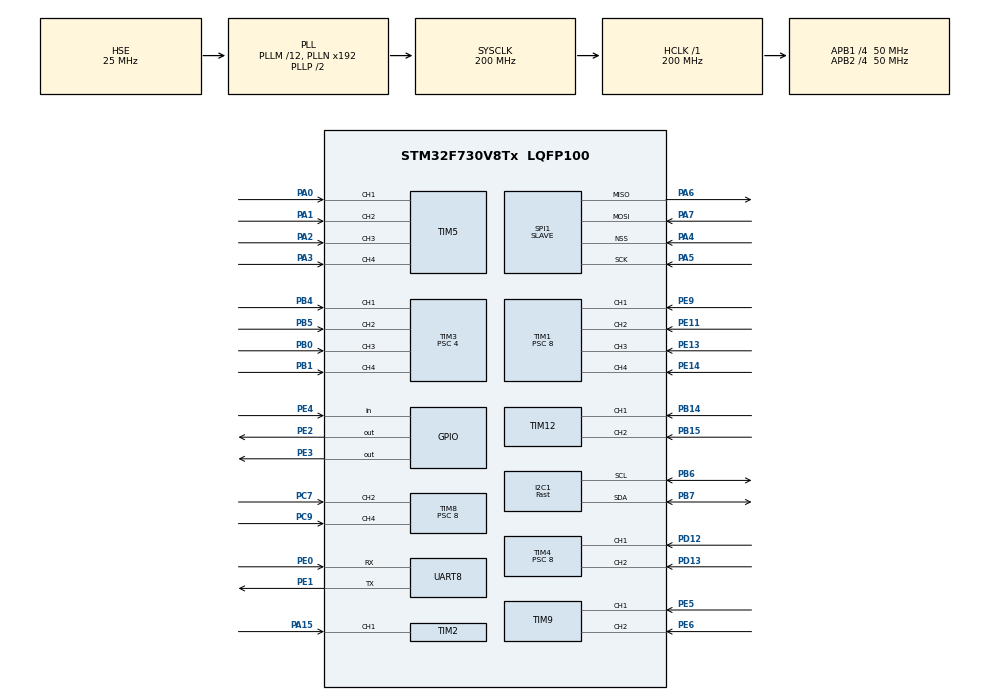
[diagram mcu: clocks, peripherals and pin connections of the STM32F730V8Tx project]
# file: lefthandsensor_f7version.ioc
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CORTEX_M7.default_mode_Activation=1
Dma.Request0=TIM2_CH1
Dma.Request1=TIM1_CH1
Dma.Request10=TIM4_CH1
Dma.Request11=TIM4_CH2
Dma.Request12=TIM8_CH4/TRIG/COM
Dma.Request2=TIM3_CH3
Dma.Request3=TIM3_CH4/UP
Dma.Request4=TIM1_CH2
Dma.Request5=TIM1_CH3
Dma.Request6=TIM1_CH4/TRIG/COM
Dma.Request7=TIM8_CH2
Dma.Request8=SPI1_RX
Dma.Request9=SPI1_TX
Dma.SPI1_RX.8.Direction=DMA_PERIPH_TO_MEMORY
Dma.SPI1_RX.8.FIFOMode=DMA_FIFOMODE_ENABLE
Dma.SPI1_RX.8.FIFOThreshold=DMA_FIFO_THRESHOLD_FULL
Dma.SPI1_RX.8.Instance=DMA2_Stream0
Dma.SPI1_RX.8.MemBurst=DMA_MBURST_SINGLE
Dma.SPI1_RX.8.MemDataAlignment=DMA_MDATAALIGN_BYTE
Dma.SPI1_RX.8.MemInc=DMA_MINC_ENABLE
Dma.SPI1_RX.8.Mode=DMA_CIRCULAR
Dma.SPI1_RX.8.PeriphBurst=DMA_PBURST_SINGLE
Dma.SPI1_RX.8.PeriphDataAlignment=DMA_PDATAALIGN_BYTE
Dma.SPI1_RX.8.PeriphInc=DMA_PINC_DISABLE
Dma.SPI1_RX.8.Priority=DMA_PRIORITY_LOW
Dma.SPI1_TX.9.Direction=DMA_MEMORY_TO_PERIPH
Dma.SPI1_TX.9.FIFOMode=DMA_FIFOMODE_ENABLE
Dma.SPI1_TX.9.FIFOThreshold=DMA_FIFO_THRESHOLD_FULL
Dma.SPI1_TX.9.Instance=DMA2_Stream5
Dma.SPI1_TX.9.MemBurst=DMA_MBURST_SINGLE
Dma.SPI1_TX.9.MemDataAlignment=DMA_MDATAALIGN_BYTE
Dma.SPI1_TX.9.MemInc=DMA_MINC_ENABLE
Dma.SPI1_TX.9.Mode=DMA_CIRCULAR
Dma.SPI1_TX.9.PeriphBurst=DMA_PBURST_SINGLE
Dma.SPI1_TX.9.PeriphDataAlignment=DMA_PDATAALIGN_BYTE
Dma.SPI1_TX.9.PeriphInc=DMA_PINC_DISABLE
Dma.SPI1_TX.9.Priority=DMA_PRIORITY_LOW
Dma.TIM1_CH1.1.Direction=DMA_PERIPH_TO_MEMORY
Dma.TIM1_CH1.1.FIFOMode=DMA_FIFOMODE_ENABLE
Dma.TIM1_CH1.1.FIFOThreshold=DMA_FIFO_THRESHOLD_FULL
Dma.TIM1_CH1.1.Instance=DMA2_Stream1
Dma.TIM1_CH1.1.MemBurst=DMA_MBURST_SINGLE
Dma.TIM1_CH1.1.MemDataAlignment=DMA_MDATAALIGN_HALFWORD
Dma.TIM1_CH1.1.MemInc=DMA_MINC_ENABLE
Dma.TIM1_CH1.1.Mode=DMA_CIRCULAR
Dma.TIM1_CH1.1.PeriphBurst=DMA_PBURST_SINGLE
Dma.TIM1_CH1.1.PeriphDataAlignment=DMA_PDATAALIGN_HALFWORD
Dma.TIM1_CH1.1.PeriphInc=DMA_PINC_DISABLE
Dma.TIM1_CH1.1.Priority=DMA_PRIORITY_LOW
Dma.TIM1_CH2.4.Direction=DMA_PERIPH_TO_MEMORY
Dma.TIM1_CH2.4.FIFOMode=DMA_FIFOMODE_ENABLE
Dma.TIM1_CH2.4.FIFOThreshold=DMA_FIFO_THRESHOLD_FULL
Dma.TIM1_CH2.4.Instance=DMA2_Stream2
Dma.TIM1_CH2.4.MemBurst=DMA_MBURST_SINGLE
Dma.TIM1_CH2.4.MemDataAlignment=DMA_MDATAALIGN_HALFWORD
Dma.TIM1_CH2.4.MemInc=DMA_MINC_ENABLE
Dma.TIM1_CH2.4.Mode=DMA_CIRCULAR
Dma.TIM1_CH2.4.PeriphBurst=DMA_PBURST_SINGLE
Dma.TIM1_CH2.4.PeriphDataAlignment=DMA_PDATAALIGN_HALFWORD
Dma.TIM1_CH2.4.PeriphInc=DMA_PINC_DISABLE
Dma.TIM1_CH2.4.Priority=DMA_PRIORITY_LOW
Dma.TIM1_CH3.5.Direction=DMA_PERIPH_TO_MEMORY
Dma.TIM1_CH3.5.FIFOMode=DMA_FIFOMODE_ENABLE
Dma.TIM1_CH3.5.FIFOThreshold=DMA_FIFO_THRESHOLD_FULL
Dma.TIM1_CH3.5.Instance=DMA2_Stream6
Dma.TIM1_CH3.5.MemBurst=DMA_MBURST_SINGLE
Dma.TIM1_CH3.5.MemDataAlignment=DMA_MDATAALIGN_HALFWORD
Dma.TIM1_CH3.5.MemInc=DMA_MINC_ENABLE
Dma.TIM1_CH3.5.Mode=DMA_CIRCULAR
Dma.TIM1_CH3.5.PeriphBurst=DMA_PBURST_SINGLE
Dma.TIM1_CH3.5.PeriphDataAlignment=DMA_PDATAALIGN_HALFWORD
Dma.TIM1_CH3.5.PeriphInc=DMA_PINC_DISABLE
Dma.TIM1_CH3.5.Priority=DMA_PRIORITY_LOW
Dma.TIM1_CH4/TRIG/COM.6.Direction=DMA_PERIPH_TO_MEMORY
Dma.TIM1_CH4/TRIG/COM.6.FIFOMode=DMA_FIFOMODE_ENABLE
Dma.TIM1_CH4/TRIG/COM.6.FIFOThreshold=DMA_FIFO_THRESHOLD_FULL
Dma.TIM1_CH4/TRIG/COM.6.Instance=DMA2_Stream4
Dma.TIM1_CH4/TRIG/COM.6.MemBurst=DMA_MBURST_SINGLE
Dma.TIM1_CH4/TRIG/COM.6.MemDataAlignment=DMA_MDATAALIGN_HALFWORD
Dma.TIM1_CH4/TRIG/COM.6.MemInc=DMA_MINC_ENABLE
Dma.TIM1_CH4/TRIG/COM.6.Mode=DMA_CIRCULAR
Dma.TIM1_CH4/TRIG/COM.6.PeriphBurst=DMA_PBURST_SINGLE
Dma.TIM1_CH4/TRIG/COM.6.PeriphDataAlignment=DMA_PDATAALIGN_HALFWORD
Dma.TIM1_CH4/TRIG/COM.6.PeriphInc=DMA_PINC_DISABLE
Dma.TIM1_CH4/TRIG/COM.6.Priority=DMA_PRIORITY_LOW
Dma.TIM2_CH1.0.Direction=DMA_PERIPH_TO_MEMORY
Dma.TIM2_CH1.0.FIFOMode=DMA_FIFOMODE_ENABLE
Dma.TIM2_CH1.0.FIFOThreshold=DMA_FIFO_THRESHOLD_FULL
Dma.TIM2_CH1.0.Instance=DMA1_Stream5
Dma.TIM2_CH1.0.MemBurst=DMA_MBURST_SINGLE
Dma.TIM2_CH1.0.MemDataAlignment=DMA_MDATAALIGN_HALFWORD
Dma.TIM2_CH1.0.MemInc=DMA_MINC_ENABLE
Dma.TIM2_CH1.0.Mode=DMA_CIRCULAR
Dma.TIM2_CH1.0.PeriphBurst=DMA_PBURST_SINGLE
Dma.TIM2_CH1.0.PeriphDataAlignment=DMA_PDATAALIGN_WORD
Dma.TIM2_CH1.0.PeriphInc=DMA_PINC_DISABLE
Dma.TIM2_CH1.0.Priority=DMA_PRIORITY_LOW
Dma.TIM3_CH3.2.Direction=DMA_PERIPH_TO_MEMORY
Dma.TIM3_CH3.2.FIFOMode=DMA_FIFOMODE_DISABLE
Dma.TIM3_CH3.2.Instance=DMA1_Stream7
Dma.TIM3_CH3.2.MemDataAlignment=DMA_MDATAALIGN_HALFWORD
Dma.TIM3_CH3.2.MemInc=DMA_MINC_ENABLE
Dma.TIM3_CH3.2.Mode=DMA_NORMAL
Dma.TIM3_CH3.2.PeriphDataAlignment=DMA_PDATAALIGN_HALFWORD
Dma.TIM3_CH3.2.PeriphInc=DMA_PINC_DISABLE
Dma.TIM3_CH3.2.Priority=DMA_PRIORITY_LOW
Dma.TIM3_CH4/UP.3.Direction=DMA_PERIPH_TO_MEMORY
Dma.TIM3_CH4/UP.3.FIFOMode=DMA_FIFOMODE_DISABLE
Dma.TIM3_CH4/UP.3.Instance=DMA1_Stream2
Dma.TIM3_CH4/UP.3.MemDataAlignment=DMA_MDATAALIGN_HALFWORD
Dma.TIM3_CH4/UP.3.MemInc=DMA_MINC_ENABLE
Dma.TIM3_CH4/UP.3.Mode=DMA_NORMAL
Dma.TIM3_CH4/UP.3.PeriphDataAlignment=DMA_PDATAALIGN_HALFWORD
Dma.TIM3_CH4/UP.3.PeriphInc=DMA_PINC_DISABLE
Dma.TIM3_CH4/UP.3.Priority=DMA_PRIORITY_LOW
Dma.TIM4_CH1.10.Direction=DMA_PERIPH_TO_MEMORY
Dma.TIM4_CH1.10.FIFOMode=DMA_FIFOMODE_ENABLE
Dma.TIM4_CH1.10.FIFOThreshold=DMA_FIFO_THRESHOLD_FULL
Dma.TIM4_CH1.10.Instance=DMA1_Stream0
Dma.TIM4_CH1.10.MemBurst=DMA_MBURST_SINGLE
Dma.TIM4_CH1.10.MemDataAlignment=DMA_MDATAALIGN_HALFWORD
Dma.TIM4_CH1.10.MemInc=DMA_MINC_ENABLE
Dma.TIM4_CH1.10.Mode=DMA_CIRCULAR
Dma.TIM4_CH1.10.PeriphBurst=DMA_PBURST_SINGLE
Dma.TIM4_CH1.10.PeriphDataAlignment=DMA_PDATAALIGN_HALFWORD
Dma.TIM4_CH1.10.PeriphInc=DMA_PINC_DISABLE
Dma.TIM4_CH1.10.Priority=DMA_PRIORITY_LOW
Dma.TIM4_CH2.11.Direction=DMA_PERIPH_TO_MEMORY
Dma.TIM4_CH2.11.FIFOMode=DMA_FIFOMODE_ENABLE
Dma.TIM4_CH2.11.FIFOThreshold=DMA_FIFO_THRESHOLD_FULL
Dma.TIM4_CH2.11.Instance=DMA1_Stream3
Dma.TIM4_CH2.11.MemBurst=DMA_MBURST_SINGLE
Dma.TIM4_CH2.11.MemDataAlignment=DMA_MDATAALIGN_HALFWORD
Dma.TIM4_CH2.11.MemInc=DMA_MINC_ENABLE
Dma.TIM4_CH2.11.Mode=DMA_CIRCULAR
Dma.TIM4_CH2.11.PeriphBurst=DMA_PBURST_SINGLE
Dma.TIM4_CH2.11.PeriphDataAlignment=DMA_PDATAALIGN_HALFWORD
Dma.TIM4_CH2.11.PeriphInc=DMA_PINC_DISABLE
Dma.TIM4_CH2.11.Priority=DMA_PRIORITY_LOW
Dma.TIM8_CH2.7.Direction=DMA_PERIPH_TO_MEMORY
Dma.TIM8_CH2.7.FIFOMode=DMA_FIFOMODE_ENABLE
Dma.TIM8_CH2.7.FIFOThreshold=DMA_FIFO_THRESHOLD_FULL
Dma.TIM8_CH2.7.Instance=DMA2_Stream3
Dma.TIM8_CH2.7.MemBurst=DMA_MBURST_SINGLE
Dma.TIM8_CH2.7.MemDataAlignment=DMA_MDATAALIGN_HALFWORD
Dma.TIM8_CH2.7.MemInc=DMA_MINC_ENABLE
Dma.TIM8_CH2.7.Mode=DMA_CIRCULAR
Dma.TIM8_CH2.7.PeriphBurst=DMA_PBURST_SINGLE
Dma.TIM8_CH2.7.PeriphDataAlignment=DMA_PDATAALIGN_HALFWORD
Dma.TIM8_CH2.7.PeriphInc=DMA_PINC_DISABLE
Dma.TIM8_CH2.7.Priority=DMA_PRIORITY_LOW
Dma.TIM8_CH4/TRIG/COM.12.Direction=DMA_PERIPH_TO_MEMORY
Dma.TIM8_CH4/TRIG/COM.12.FIFOMode=DMA_FIFOMODE_ENABLE
Dma.TIM8_CH4/TRIG/COM.12.FIFOThreshold=DMA_FIFO_THRESHOLD_FULL
Dma.TIM8_CH4/TRIG/COM.12.Instance=DMA2_Stream7
Dma.TIM8_CH4/TRIG/COM.12.MemBurst=DMA_MBURST_SINGLE
Dma.TIM8_CH4/TRIG/COM.12.MemDataAlignment=DMA_MDATAALIGN_HALFWORD
Dma.TIM8_CH4/TRIG/COM.12.MemInc=DMA_MINC_ENABLE
Dma.TIM8_CH4/TRIG/COM.12.Mode=DMA_CIRCULAR
Dma.TIM8_CH4/TRIG/COM.12.PeriphBurst=DMA_PBURST_SINGLE
Dma.TIM8_CH4/TRIG/COM.12.PeriphDataAlignment=DMA_PDATAALIGN_HALFWORD
Dma.TIM8_CH4/TRIG/COM.12.PeriphInc=DMA_PINC_DISABLE
Dma.TIM8_CH4/TRIG/COM.12.Priority=DMA_PRIORITY_LOW
I2C1.I2C_Speed_Mode=I2C_Fast
I2C1.Timing=0x00401959
Mcu.Family=STM32F7
Mcu.Name=STM32F730V8Tx
Mcu.Package=LQFP100
NVIC.DMA1_Stream0_IRQn=true\:0\:0\:false\:false\:true\:false\:true\:true
NVIC.DMA1_Stream2_IRQn=true\:0\:0\:false\:false\:true\:false\:true\:true
NVIC.DMA1_Stream3_IRQn=true\:0\:0\:false\:false\:true\:false\:true\:true
NVIC.DMA1_Stream5_IRQn=true\:0\:0\:false\:false\:true\:false\:true\:true
NVIC.DMA1_Stream7_IRQn=true\:0\:0\:false\:false\:true\:false\:true\:true
NVIC.DMA2_Stream0_IRQn=true\:0\:0\:false\:false\:true\:false\:true\:true
NVIC.DMA2_Stream1_IRQn=true\:0\:0\:false\:false\:true\:false\:true\:true
NVIC.DMA2_Stream2_IRQn=true\:0\:0\:false\:false\:true\:false\:true\:true
NVIC.DMA2_Stream3_IRQn=true\:0\:0\:false\:false\:true\:false\:true\:true
NVIC.DMA2_Stream4_IRQn=true\:0\:0\:false\:false\:true\:false\:true\:true
NVIC.DMA2_Stream5_IRQn=true\:0\:0\:false\:false\:true\:false\:true\:true
NVIC.DMA2_Stream6_IRQn=true\:0\:0\:false\:false\:true\:false\:true\:true
NVIC.DMA2_Stream7_IRQn=true\:0\:0\:false\:false\:true\:false\:true\:true
NVIC.PriorityGroup=NVIC_PRIORITYGROUP_4
NVIC.SPI1_IRQn=true\:0\:0\:false\:false\:true\:true\:true\:true
NVIC.TIM1_BRK_TIM9_IRQn=true\:0\:0\:false\:false\:true\:true\:true\:true
NVIC.TIM2_IRQn=true\:0\:0\:false\:false\:true\:true\:true\:true
NVIC.TIM3_IRQn=true\:0\:0\:false\:false\:true\:true\:true\:true
NVIC.TIM4_IRQn=true\:0\:0\:false\:false\:true\:true\:true\:true
NVIC.TIM5_IRQn=true\:0\:0\:false\:false\:true\:true\:true\:true
NVIC.TIM8_BRK_TIM12_IRQn=true\:0\:0\:false\:false\:true\:true\:true\:true
NVIC.TIM8_CC_IRQn=true\:0\:0\:false\:false\:true\:true\:true\:true
NVIC.TIM8_TRG_COM_TIM14_IRQn=true\:0\:0\:false\:false\:true\:true\:true\:true
NVIC.TIM8_UP_TIM13_IRQn=true\:0\:0\:false\:false\:true\:true\:true\:true
PA0-WKUP.Signal=S_TIM5_CH1
PA1.Signal=S_TIM5_CH2
PA13.Mode=Trace_Asynchronous_SW
PA13.Signal=SYS_JTMS-SWDIO
PA14.Mode=Trace_Asynchronous_SW
PA14.Signal=SYS_JTCK-SWCLK
PA15.Signal=S_TIM2_CH1_ETR
PA2.Signal=S_TIM5_CH3
PA3.Signal=S_TIM5_CH4
PA4.GPIO_Speed=GPIO_SPEED_FREQ_MEDIUM
PA4.Mode=NSS_Signal_Hard_Input
PA4.Signal=SPI1_NSS
PA5.GPIO_Speed=GPIO_SPEED_FREQ_MEDIUM
PA5.Mode=Full_Duplex_Slave
PA5.Signal=SPI1_SCK
PA6.GPIO_Speed=GPIO_SPEED_FREQ_MEDIUM
PA6.Mode=Full_Duplex_Slave
PA6.Signal=SPI1_MISO
PA7.GPIO_Speed=GPIO_SPEED_FREQ_MEDIUM
PA7.Mode=Full_Duplex_Slave
PA7.Signal=SPI1_MOSI
PB0.Signal=S_TIM3_CH3
PB1.Signal=S_TIM3_CH4
PB14.Signal=S_TIM12_CH1
PB15.Signal=S_TIM12_CH2
PB3.Mode=Trace_Asynchronous_SW
PB3.Signal=SYS_JTDO-SWO
PB4.Signal=S_TIM3_CH1
PB5.Signal=S_TIM3_CH2
PB6.Mode=I2C
PB6.Signal=I2C1_SCL
PB7.Mode=I2C
PB7.Signal=I2C1_SDA
PC7.Signal=S_TIM8_CH2
PC9.Signal=S_TIM8_CH4
PD12.Signal=S_TIM4_CH1
PD13.Signal=S_TIM4_CH2
PE0.Mode=Asynchronous
PE0.Signal=UART8_RX
PE1.Mode=Asynchronous
PE1.Signal=UART8_TX
PE11.Signal=S_TIM1_CH2
PE13.Signal=S_TIM1_CH3
PE14.Signal=S_TIM1_CH4
PE2.Signal=GPIO_Output
PE3.Signal=GPIO_Output
PE4.Signal=GPIO_Input
PE5.Signal=S_TIM9_CH1
PE6.Signal=S_TIM9_CH2
PE9.Signal=S_TIM1_CH1
PH0-OSC_IN.Mode=HSE-External-Clock-Source
PH0-OSC_IN.Signal=RCC_OSC_IN
PH1-OSC_OUT.Mode=HSE-External-Clock-Source
PH1-OSC_OUT.Signal=RCC_OSC_OUT
ProjectManager.HeapSize=0x200
ProjectManager.StackSize=0x400
ProjectManager.TargetToolchain=STM32CubeIDE
RCC.AHBFreq_Value=200000000
RCC.APB1CLKDivider=RCC_HCLK_DIV4
RCC.APB1Freq_Value=50000000
RCC.APB1TimFreq_Value=100000000
RCC.APB2CLKDivider=RCC_HCLK_DIV4
RCC.APB2Freq_Value=50000000
RCC.APB2TimFreq_Value=100000000
RCC.CortexFreq_Value=200000000
RCC.HCLKFreq_Value=200000000
RCC.HSE_VALUE=25000000
RCC.HSI_VALUE=16000000
RCC.LSE_VALUE=32768
RCC.PLLM=12
RCC.PLLSourceVirtual=RCC_PLLSOURCE_HSE
RCC.SYSCLKFreq_VALUE=200000000
RCC.SYSCLKSource=RCC_SYSCLKSOURCE_PLLCLK
RCC.USBFreq_Value=200000000
RCC.VCOOutputFreq_Value=400000000
SH.S_TIM12_CH1.0=TIM12_CH1,Input_Capture1_from_TI1
SH.S_TIM12_CH2.0=TIM12_CH2,Input_Capture2_from_TI2
SH.S_TIM1_CH1.0=TIM1_CH1,Input_Capture1_from_TI1
SH.S_TIM1_CH2.0=TIM1_CH2,Input_Capture2_from_TI2
SH.S_TIM1_CH3.0=TIM1_CH3,Input_Capture3_from_TI3
SH.S_TIM1_CH4.0=TIM1_CH4,Input_Capture4_from_TI4
SH.S_TIM2_CH1_ETR.0=TIM2_CH1,Input_Capture1_from_TI1
SH.S_TIM3_CH1.0=TIM3_CH1,Input_Capture1_from_TI1
SH.S_TIM3_CH2.0=TIM3_CH2,Input_Capture2_from_TI2
SH.S_TIM3_CH3.0=TIM3_CH3,Input_Capture3_from_TI3
SH.S_TIM3_CH4.0=TIM3_CH4,Input_Capture4_from_TI4
SH.S_TIM4_CH1.0=TIM4_CH1,Input_Capture1_from_TI1
SH.S_TIM4_CH2.0=TIM4_CH2,Input_Capture2_from_TI2
SH.S_TIM5_CH1.0=TIM5_CH1,Input_Capture1_from_TI1
SH.S_TIM5_CH2.0=TIM5_CH2,Input_Capture2_from_TI2
SH.S_TIM5_CH3.0=TIM5_CH3,Input_Capture3_from_TI3
SH.S_TIM5_CH4.0=TIM5_CH4,Input_Capture4_from_TI4
SH.S_TIM8_CH2.0=TIM8_CH2,Input_Capture2_from_TI2
SH.S_TIM8_CH4.0=TIM8_CH4,Input_Capture4_from_TI4
SH.S_TIM9_CH1.0=TIM9_CH1,Input_Capture1_from_TI1
SH.S_TIM9_CH2.0=TIM9_CH2,Input_Capture2_from_TI2
SPI1.DataSize=SPI_DATASIZE_8BIT
SPI1.Direction=SPI_DIRECTION_2LINES
SPI1.Mode=SPI_MODE_SLAVE
SPI1.VirtualNSS=VM_NSSHARD
SPI1.VirtualType=VM_SLAVE
TIM1.AutoReloadPreload=TIM_AUTORELOAD_PRELOAD_DISABLE
TIM1.Channel-Input_Capture1_from_TI1=TIM_CHANNEL_1
TIM1.Channel-Input_Capture2_from_TI2=TIM_CHANNEL_2
TIM1.Channel-Input_Capture3_from_TI3=TIM_CHANNEL_3
TIM1.Channel-Input_Capture4_from_TI4=TIM_CHANNEL_4
TIM1.ICPolarity_CH1=TIM_INPUTCHANNELPOLARITY_FALLING
TIM1.ICPolarity_CH2=TIM_INPUTCHANNELPOLARITY_FALLING
TIM1.ICPolarity_CH3=TIM_INPUTCHANNELPOLARITY_FALLING
TIM1.ICPolarity_CH4=TIM_INPUTCHANNELPOLARITY_FALLING
TIM1.Prescaler=8
TIM12.Channel-Input_Capture1_from_TI1=TIM_CHANNEL_1
TIM12.Channel-Input_Capture2_from_TI2=TIM_CHANNEL_2
TIM2.AutoReloadPreload=TIM_AUTORELOAD_PRELOAD_ENABLE
TIM2.Channel-Input_Capture1_from_TI1=TIM_CHANNEL_1
TIM2.ICPolarity_CH1=TIM_INPUTCHANNELPOLARITY_FALLING
TIM2.ICPrescaler-Input_Capture1_from_TI1=TIM_ICPSC_DIV1
TIM2.Period=4294967295
TIM2.Prescaler=8
TIM2.TIM_MasterOutputTrigger=TIM_TRGO_RESET
TIM3.Channel-Input_Capture1_from_TI1=TIM_CHANNEL_1
TIM3.Channel-Input_Capture2_from_TI2=TIM_CHANNEL_2
TIM3.Channel-Input_Capture3_from_TI3=TIM_CHANNEL_3
TIM3.Channel-Input_Capture4_from_TI4=TIM_CHANNEL_4
TIM3.Prescaler=4
TIM4.Channel-Input_Capture1_from_TI1=TIM_CHANNEL_1
TIM4.Channel-Input_Capture2_from_TI2=TIM_CHANNEL_2
TIM4.ICPolarity_CH1=TIM_INPUTCHANNELPOLARITY_FALLING
TIM4.ICPolarity_CH2=TIM_INPUTCHANNELPOLARITY_FALLING
TIM4.Prescaler=8
TIM5.Channel-Input_Capture1_from_TI1=TIM_CHANNEL_1
TIM5.Channel-Input_Capture2_from_TI2=TIM_CHANNEL_2
TIM5.Channel-Input_Capture3_from_TI3=TIM_CHANNEL_3
TIM5.Channel-Input_Capture4_from_TI4=TIM_CHANNEL_4
TIM8.Channel-Input_Capture2_from_TI2=TIM_CHANNEL_2
TIM8.Channel-Input_Capture4_from_TI4=TIM_CHANNEL_4
TIM8.ICPolarity_CH2=TIM_INPUTCHANNELPOLARITY_FALLING
TIM8.ICPolarity_CH4=TIM_INPUTCHANNELPOLARITY_FALLING
TIM8.Prescaler=8
TIM9.Channel-Input_Capture1_from_TI1=TIM_CHANNEL_1
TIM9.Channel-Input_Capture2_from_TI2=TIM_CHANNEL_2
VP_TIM12_VS_ClockSourceINT.Mode=Internal
VP_TIM1_VS_ClockSourceINT.Mode=Internal
VP_TIM2_VS_ClockSourceINT.Mode=Internal
VP_TIM3_VS_ClockSourceINT.Mode=Internal
VP_TIM4_VS_ClockSourceINT.Mode=Internal
VP_TIM5_VS_ClockSourceINT.Mode=Internal
VP_TIM8_VS_ClockSourceINT.Mode=Internal
VP_TIM9_VS_ClockSourceINT.Mode=Internal
board=custom

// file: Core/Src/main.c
/* USER CODE BEGIN Header */
/**
  ******************************************************************************
  * @file           : main.c
  * @brief          : Main program body
  ******************************************************************************
  * @attention
  *
  * Copyright (c) 2026 STMicroelectronics.
  * All rights reserved.
  *
  * This software is licensed under terms that can be found in the LICENSE file
  * in the root directory of this software component.
  * If no LICENSE file comes with this software, it is provided AS-IS.
  *
  ******************************************************************************
  */
/* USER CODE END Header */
#include "main.h"

I2C_HandleTypeDef hi2c1;

SPI_HandleTypeDef hspi1;
DMA_HandleTypeDef hdma_spi1_rx;
DMA_HandleTypeDef hdma_spi1_tx;

TIM_HandleTypeDef htim1;
TIM_HandleTypeDef htim2;
TIM_HandleTypeDef htim3;
TIM_HandleTypeDef htim4;
TIM_HandleTypeDef htim5;
TIM_HandleTypeDef htim8;
TIM_HandleTypeDef htim9;
TIM_HandleTypeDef htim12;
DMA_HandleTypeDef hdma_tim1_ch1;
DMA_HandleTypeDef hdma_tim1_ch2;
DMA_HandleTypeDef hdma_tim1_ch3;
DMA_HandleTypeDef hdma_tim1_ch4_trig_com;
DMA_HandleTypeDef hdma_tim2_ch1;
DMA_HandleTypeDef hdma_tim3_ch3;
DMA_HandleTypeDef hdma_tim3_ch4_up;
DMA_HandleTypeDef hdma_tim4_ch1;
DMA_HandleTypeDef hdma_tim4_ch2;
DMA_HandleTypeDef hdma_tim8_ch2;
DMA_HandleTypeDef hdma_tim8_ch4_trig_com;

UART_HandleTypeDef huart8;

void SystemClock_Config(void);
static void MPU_Config(void);
static void MX_GPIO_Init(void);
static void MX_DMA_Init(void);
static void MX_I2C1_Init(void);
static void MX_SPI1_Init(void);
static void MX_TIM1_Init(void);
static void MX_TIM2_Init(void);
static void MX_TIM3_Init(void);
static void MX_TIM4_Init(void);
static void MX_TIM5_Init(void);
static void MX_TIM8_Init(void);
static void MX_TIM9_Init(void);
static void MX_TIM12_Init(void);
static void MX_UART8_Init(void);

/* USER CODE BEGIN 0 */
volatile float Duty = 0.0;
volatile float Frequency = 0;
volatile uint32_t CycleTime = 0;
volatile uint32_t OnTime = 0;
volatile float F_CLK = 100000.0f;

uint16_t previousCaptureValue[9];

uint32_t pulses[9][128];
uint32_t currentPulse[9];
float timingPulse[9];
uint32_t currentNibble[9];
uint32_t statusNibble[9];
#define MAXNIBBLE 8
float currentMessageBytes[9][MAXNIBBLE];
uint32_t currentMessageBytesInt[9][MAXNIBBLE];
uint32_t messageDone[9];
uint32_t messageTotal[9];
uint32_t firstMessage[9];
uint32_t secondMessage[9];
uint32_t sensorerror[9];
uint16_t timerCaptures[8][128];
uint32_t timerCapture8[128];
float timerFreq[4];

uint8_t SPIoutputMessage[76];
uint8_t SPIinputMessage[76];
volatile uint8_t test;

void HAL_SPI_TxRxCpltCallback(SPI_HandleTypeDef* hspi)
{
test++;
for (int i = 0; i < 38; i++)
{
	SPIoutputMessage[i] = i;
}
if (test > 75)
{
	test = 0;
}
}

void HAL_SPI_TxRxHalfCpltCallback(SPI_HandleTypeDef* hspi)
{
test++;
for (int i = 38; i < 76; i++)
{
	SPIoutputMessage[i] = i;
}
if (test > 75)
{
	test = 0;
}
}

void HAL_TIM_IC_CaptureCallback(TIM_HandleTypeDef *htim)
{
	HAL_GPIO_WritePin(GPIOE, GPIO_PIN_2, GPIO_PIN_SET);
	uint32_t whichString = 0;
	float myFreq = 1.0f;
	if (htim->Instance == TIM8)
	{
		myFreq = timerFreq[3];
		if (htim->Channel == HAL_TIM_ACTIVE_CHANNEL_2)
		{
			whichString = 6;
		}
		else if (htim->Channel == HAL_TIM_ACTIVE_CHANNEL_4)
		{
			whichString = 7;
		}
	}
	else if (htim->Instance == TIM4)
	{
		myFreq = timerFreq[2];
		if (htim->Channel == HAL_TIM_ACTIVE_CHANNEL_1)
		{
			whichString = 4;
		}
		else if (htim->Channel == HAL_TIM_ACTIVE_CHANNEL_2)
		{
			whichString = 5;
		}
	}
	else if (htim->Instance == TIM1)
	{
		myFreq = timerFreq[0];
		if (htim->Channel == HAL_TIM_ACTIVE_CHANNEL_1)
		{
			whichString = 0;
		}
		else if (htim->Channel == HAL_TIM_ACTIVE_CHANNEL_2)
		{
			whichString = 1;
		}
		else if (htim->Channel == HAL_TIM_ACTIVE_CHANNEL_3)
		{
			whichString = 2;
		}
		else if (htim->Channel == HAL_TIM_ACTIVE_CHANNEL_4)
		{
			whichString = 3;
		}
	}
	else if (htim->Instance == TIM2)
	{
		myFreq = timerFreq[1];
		if (htim->Channel == HAL_TIM_ACTIVE_CHANNEL_1)
		{
			whichString = 8;
		}
	}
	for (int i = 64; i < 128; i++)
	{
		uint16_t difference;
		uint16_t captureValue;
		if (whichString == 8)
		{
			captureValue = timerCapture8[i];
			if (captureValue >= previousCaptureValue[whichString])
			{
				difference = (captureValue - previousCaptureValue[whichString]);
			}
			else
			{
				difference = (4294967295 - previousCaptureValue[whichString] + 1) + captureValue;
			}
		}
		else
		{
			captureValue = timerCaptures[whichString][i];
			if (captureValue >= previousCaptureValue[whichString])
			{
				difference = (captureValue - previousCaptureValue[whichString]);
			}
			else
			{
				difference = (65535 - previousCaptureValue[whichString] + 1) + captureValue;
			}
		}
		uint16_t pulseLowBound = (uint16_t)(myFreq * 0.000153f);
		uint16_t pulseHighBound = (uint16_t)(myFreq * 0.000171f);

		previousCaptureValue[whichString] = captureValue;
		pulses[whichString][currentPulse[whichString]] = difference;
		currentPulse[whichString] = (currentPulse[whichString] + 1) & 127;
		//if the pulse is the timing pulse
		if ((difference > pulseLowBound)&& (difference < pulseHighBound))
		{
			timingPulse[whichString] = difference / 56.0f;
			if (timingPulse[whichString] < 0.1f)
			{
				timingPulse[whichString] = 1.f;
			}
			currentNibble[whichString] = 0;
			messageTotal[whichString] = 0;
		}
		else if (difference < pulseLowBound)
		{
			//one of the data nibbles
			if (currentNibble[whichString] < MAXNIBBLE)
			{
				currentMessageBytes[whichString][currentNibble[whichString]] = (((float)difference / timingPulse[whichString]) + 0.5f);
				currentMessageBytesInt[whichString][currentNibble[whichString]] = ((uint32_t)currentMessageBytes[whichString][currentNibble[whichString]]) - 12;
				currentNibble[whichString]++;
			}
			//just read the last nibble of the message
			if (currentNibble[whichString] == (MAXNIBBLE -1))
			{

				for (int i = 0; i < MAXNIBBLE; i++)
				{
					messageTotal[whichString] += currentMessageBytesInt[whichString][i];
				}
				if ((messageTotal[whichString] > 0) && (messageTotal[whichString] < 118))
				{
					firstMessage[whichString] = (currentMessageBytesInt[whichString][1] << 8) + (currentMessageBytesInt[whichString][2] << 4) + (currentMessageBytesInt[whichString][3]);
					secondMessage[whichString] = (currentMessageBytesInt[whichString][4] << 8) + (currentMessageBytesInt[whichString][5] << 4) + (currentMessageBytesInt[whichString][6]);
					statusNibble[whichString] = currentMessageBytesInt[whichString][0];
					if (statusNibble[whichString] & 0b0001)
					{
						//start of "serial" message, a kind of meta SENT message
						messageDone[whichString] = !messageDone[whichString];
					}

				}
			}

		}
	}
	HAL_GPIO_WritePin(GPIOE, GPIO_PIN_2, GPIO_PIN_RESET);
}

void HAL_TIM_IC_CaptureHalfCpltCallback(TIM_HandleTypeDef *htim)
{
	HAL_GPIO_WritePin(GPIOE, GPIO_PIN_3, GPIO_PIN_SET);
	uint32_t whichString = 0;
	float myFreq = 1.0f;
	if (htim->Instance == TIM8)
	{
		myFreq = timerFreq[3];
		if (htim->Channel == HAL_TIM_ACTIVE_CHANNEL_2)
		{
			whichString = 6;
		}
		else if (htim->Channel == HAL_TIM_ACTIVE_CHANNEL_4)
		{
			whichString = 7;
		}
	}
	else if (htim->Instance == TIM4)
	{
		myFreq = timerFreq[2];
		if (htim->Channel == HAL_TIM_ACTIVE_CHANNEL_1)
		{
			whichString = 4;
		}
		else if (htim->Channel == HAL_TIM_ACTIVE_CHANNEL_2)
		{
			whichString = 5;
		}
	}
	else if (htim->Instance == TIM1)
	{
		myFreq = timerFreq[0];
		if (htim->Channel == HAL_TIM_ACTIVE_CHANNEL_1)
		{
			whichString = 0;
		}
		else if (htim->Channel == HAL_TIM_ACTIVE_CHANNEL_2)
		{
			whichString = 1;
		}
		else if (htim->Channel == HAL_TIM_ACTIVE_CHANNEL_3)
		{
			whichString = 2;
		}
		else if (htim->Channel == HAL_TIM_ACTIVE_CHANNEL_4)
		{
			whichString = 3;
		}
	}
	else if (htim->Instance == TIM2)
	{
		myFreq = timerFreq[1];
		if (htim->Channel == HAL_TIM_ACTIVE_CHANNEL_1)
		{
			whichString = 8;
		}
	}
	for (int i = 0; i < 64; i++)
	{
		uint16_t captureValue;
		uint16_t difference;
		if (whichString == 8)
		{
			captureValue = timerCapture8[i];
			if (captureValue >= previousCaptureValue[whichString])
			{
				difference = (captureValue - previousCaptureValue[whichString]);
			}
			else
			{
				difference = (4294967295 - previousCaptureValue[whichString] + 1) + captureValue;
			}
		}
		else
		{
			captureValue = timerCaptures[whichString][i];
			if (captureValue >= previousCaptureValue[whichString])
			{
				difference = (captureValue - previousCaptureValue[whichString]);
			}
			else
			{
				difference = (65535 - previousCaptureValue[whichString] + 1) + captureValue;
			}
		}

		uint16_t pulseLowBound = (uint16_t)(myFreq * 0.000153f);
		uint16_t pulseHighBound = (uint16_t)(myFreq * 0.000171f);
		previousCaptureValue[whichString] = captureValue;
		pulses[whichString][currentPulse[whichString]] = difference;
		currentPulse[whichString] = (currentPulse[whichString] + 1) & 127;
		//if the pulse is the timing pulse
		if ((difference > pulseLowBound)&& (difference < pulseHighBound))
		{
			timingPulse[whichString] = difference / 56.0f;
			if (timingPulse[whichString] < 0.1f)
			{
				timingPulse[whichString] = 1.f;
			}
			currentNibble[whichString] = 0;
			messageTotal[whichString] = 0;
		}
		else if (pulseLowBound < 3400)
		{
			//one of the data nibbles
			if (currentNibble[whichString] < MAXNIBBLE)
			{
				currentMessageBytes[whichString][currentNibble[whichString]] = (((float)difference / timingPulse[whichString]) + 0.5f);
				currentMessageBytesInt[whichString][currentNibble[whichString]] = ((uint32_t)currentMessageBytes[whichString][currentNibble[whichString]]) - 12;
				currentNibble[whichString]++;
			}
			//just read the last nibble of the message
			if (currentNibble[whichString] == (MAXNIBBLE -1))
			{

				for (int i = 0; i < MAXNIBBLE; i++)
				{
					messageTotal[whichString] += currentMessageBytesInt[whichString][i];
				}
				if ((messageTotal[whichString] > 0) && (messageTotal[whichString] < 118))
				{
					firstMessage[whichString] = (currentMessageBytesInt[whichString][1] << 8) + (currentMessageBytesInt[whichString][2] << 4) + (currentMessageBytesInt[whichString][3]);
					secondMessage[whichString] = (currentMessageBytesInt[whichString][4] << 8) + (currentMessageBytesInt[whichString][5] << 4) + (currentMessageBytesInt[whichString][6]);
					statusNibble[whichString] = currentMessageBytesInt[whichString][0];
					if (statusNibble[whichString] & 0b0001)
					{
						//start of "serial" message, a kind of meta SENT message
						messageDone[whichString] = !messageDone[whichString];
					}

				}
			}

		}
	}
	HAL_GPIO_WritePin(GPIOE, GPIO_PIN_3, GPIO_PIN_RESET);
}

/* USER CODE END 0 */

int main(void)
{

  /* MPU Configuration--------------------------------------------------------*/
  MPU_Config();

  /* MCU Configuration--------------------------------------------------------*/

  /* Reset of all peripherals, Initializes the Flash interface and the Systick. */
  HAL_Init();

  /* Configure the system clock */
  SystemClock_Config();

  /* Initialize all configured peripherals */
  MX_GPIO_Init();
  MX_DMA_Init();
  MX_I2C1_Init();
  MX_SPI1_Init();
  MX_TIM1_Init();
  MX_TIM2_Init();
  MX_TIM3_Init();
  MX_TIM4_Init();
  MX_TIM5_Init();
  MX_TIM8_Init();
  MX_TIM9_Init();
  MX_TIM12_Init();
  MX_UART8_Init();
  /* USER CODE BEGIN 2 */

  HAL_SPI_TransmitReceive_DMA(&hspi1, SPIoutputMessage,SPIinputMessage, 76);

  HAL_TIM_IC_Start_DMA(&htim8, TIM_CHANNEL_2, (uint32_t*)timerCaptures[6], 128);
  HAL_TIM_IC_Start_DMA(&htim8, TIM_CHANNEL_4, (uint32_t*)timerCaptures[7], 128);
  HAL_TIM_IC_Start_DMA(&htim4, TIM_CHANNEL_1, (uint32_t*)timerCaptures[4], 128);
  HAL_TIM_IC_Start_DMA(&htim4, TIM_CHANNEL_2, (uint32_t*)timerCaptures[5], 128);
  HAL_TIM_IC_Start_DMA(&htim1, TIM_CHANNEL_4, (uint32_t*)timerCaptures[3], 128);
  HAL_TIM_IC_Start_DMA(&htim1, TIM_CHANNEL_3, (uint32_t*)timerCaptures[2], 128);
  HAL_TIM_IC_Start_DMA(&htim1, TIM_CHANNEL_2, (uint32_t*)timerCaptures[1], 128);
  HAL_TIM_IC_Start_DMA(&htim1, TIM_CHANNEL_1, (uint32_t*)timerCaptures[0], 128);
  HAL_TIM_IC_Start_DMA(&htim2, TIM_CHANNEL_1, timerCapture8, 128);

  timerFreq[0] = TIM_GET_FREQ(&htim1);
  timerFreq[1] = TIM_GET_FREQ(&htim2);
  timerFreq[2] = TIM_GET_FREQ(&htim4);
  timerFreq[3] = TIM_GET_FREQ(&htim8);
  /* USER CODE END 2 */

  /* Infinite loop */
  while (1)
  {

  }
}

void SystemClock_Config(void)
{
  RCC_OscInitTypeDef RCC_OscInitStruct = {0};
  RCC_ClkInitTypeDef RCC_ClkInitStruct = {0};

  /** Configure the main internal regulator output voltage
  */
  __HAL_RCC_PWR_CLK_ENABLE();
  __HAL_PWR_VOLTAGESCALING_CONFIG(PWR_REGULATOR_VOLTAGE_SCALE1);

  /** Initializes the RCC Oscillators according to the specified parameters
  * in the RCC_OscInitTypeDef structure.
  */
  RCC_OscInitStruct.OscillatorType = RCC_OSCILLATORTYPE_LSI|RCC_OSCILLATORTYPE_HSE;
  RCC_OscInitStruct.HSEState = RCC_HSE_BYPASS;
  RCC_OscInitStruct.LSIState = RCC_LSI_ON;
  RCC_OscInitStruct.PLL.PLLState = RCC_PLL_ON;
  RCC_OscInitStruct.PLL.PLLSource = RCC_PLLSOURCE_HSE;
  RCC_OscInitStruct.PLL.PLLM = 12;
  RCC_OscInitStruct.PLL.PLLN = 192;
  RCC_OscInitStruct.PLL.PLLP = RCC_PLLP_DIV2;
  RCC_OscInitStruct.PLL.PLLQ = 2;
  if (HAL_RCC_OscConfig(&RCC_OscInitStruct) != HAL_OK)
  {
    Error_Handler();
  }

  /** Activate the Over-Drive mode
  */
  if (HAL_PWREx_EnableOverDrive() != HAL_OK)
  {
    Error_Handler();
  }

  /** Initializes the CPU, AHB and APB buses clocks
  */
  RCC_ClkInitStruct.ClockType = RCC_CLOCKTYPE_HCLK|RCC_CLOCKTYPE_SYSCLK
                              |RCC_CLOCKTYPE_PCLK1|RCC_CLOCKTYPE_PCLK2;
  RCC_ClkInitStruct.SYSCLKSource = RCC_SYSCLKSOURCE_PLLCLK;
  RCC_ClkInitStruct.AHBCLKDivider = RCC_SYSCLK_DIV1;
  RCC_ClkInitStruct.APB1CLKDivider = RCC_HCLK_DIV4;
  RCC_ClkInitStruct.APB2CLKDivider = RCC_HCLK_DIV4;

  if (HAL_RCC_ClockConfig(&RCC_ClkInitStruct, FLASH_LATENCY_6) != HAL_OK)
  {
    Error_Handler();
  }
}

static void MX_I2C1_Init(void)
{

  hi2c1.Instance = I2C1;
  hi2c1.Init.Timing = 0x00401959;
  hi2c1.Init.OwnAddress1 = 0;
  hi2c1.Init.AddressingMode = I2C_ADDRESSINGMODE_7BIT;
  hi2c1.Init.DualAddressMode = I2C_DUALADDRESS_DISABLE;
  hi2c1.Init.OwnAddress2 = 0;
  hi2c1.Init.OwnAddress2Masks = I2C_OA2_NOMASK;
  hi2c1.Init.GeneralCallMode = I2C_GENERALCALL_DISABLE;
  hi2c1.Init.NoStretchMode = I2C_NOSTRETCH_DISABLE;
  if (HAL_I2C_Init(&hi2c1) != HAL_OK)
  {
    Error_Handler();
  }

  /** Configure Analogue filter
  */
  if (HAL_I2CEx_ConfigAnalogFilter(&hi2c1, I2C_ANALOGFILTER_ENABLE) != HAL_OK)
  {
    Error_Handler();
  }

  /** Configure Digital filter
  */
  if (HAL_I2CEx_ConfigDigitalFilter(&hi2c1, 0) != HAL_OK)
  {
    Error_Handler();
  }

}

static void MX_SPI1_Init(void)
{

  /* SPI1 parameter configuration*/
  hspi1.Instance = SPI1;
  hspi1.Init.Mode = SPI_MODE_SLAVE;
  hspi1.Init.Direction = SPI_DIRECTION_2LINES;
  hspi1.Init.DataSize = SPI_DATASIZE_8BIT;
  hspi1.Init.CLKPolarity = SPI_POLARITY_LOW;
  hspi1.Init.CLKPhase = SPI_PHASE_1EDGE;
  hspi1.Init.NSS = SPI_NSS_HARD_INPUT;
  hspi1.Init.FirstBit = SPI_FIRSTBIT_MSB;
  hspi1.Init.TIMode = SPI_TIMODE_DISABLE;
  hspi1.Init.CRCCalculation = SPI_CRCCALCULATION_DISABLE;
  hspi1.Init.CRCPolynomial = 7;
  hspi1.Init.CRCLength = SPI_CRC_LENGTH_DATASIZE;
  hspi1.Init.NSSPMode = SPI_NSS_PULSE_DISABLE;
  if (HAL_SPI_Init(&hspi1) != HAL_OK)
  {
    Error_Handler();
  }

}

static void MX_TIM1_Init(void)
{

  TIM_ClockConfigTypeDef sClockSourceConfig = {0};
  TIM_MasterConfigTypeDef sMasterConfig = {0};
  TIM_IC_InitTypeDef sConfigIC = {0};

  htim1.Instance = TIM1;
  htim1.Init.Prescaler = 8;
  htim1.Init.CounterMode = TIM_COUNTERMODE_UP;
  htim1.Init.Period = 65535;
  htim1.Init.ClockDivision = TIM_CLOCKDIVISION_DIV1;
  htim1.Init.RepetitionCounter = 0;
  htim1.Init.AutoReloadPreload = TIM_AUTORELOAD_PRELOAD_DISABLE;
  if (HAL_TIM_Base_Init(&htim1) != HAL_OK)
  {
    Error_Handler();
  }
  sClockSourceConfig.ClockSource = TIM_CLOCKSOURCE_INTERNAL;
  if (HAL_TIM_ConfigClockSource(&htim1, &sClockSourceConfig) != HAL_OK)
  {
    Error_Handler();
  }
  if (HAL_TIM_IC_Init(&htim1) != HAL_OK)
  {
    Error_Handler();
  }
  sMasterConfig.MasterOutputTrigger = TIM_TRGO_RESET;
  sMasterConfig.MasterOutputTrigger2 = TIM_TRGO2_RESET;
  sMasterConfig.MasterSlaveMode = TIM_MASTERSLAVEMODE_DISABLE;
  if (HAL_TIMEx_MasterConfigSynchronization(&htim1, &sMasterConfig) != HAL_OK)
  {
    Error_Handler();
  }
  sConfigIC.ICPolarity = TIM_INPUTCHANNELPOLARITY_FALLING;
  sConfigIC.ICSelection = TIM_ICSELECTION_DIRECTTI;
  sConfigIC.ICPrescaler = TIM_ICPSC_DIV1;
  sConfigIC.ICFilter = 0;
  if (HAL_TIM_IC_ConfigChannel(&htim1, &sConfigIC, TIM_CHANNEL_1) != HAL_OK)
  {
    Error_Handler();
  }
  if (HAL_TIM_IC_ConfigChannel(&htim1, &sConfigIC, TIM_CHANNEL_2) != HAL_OK)
  {
    Error_Handler();
  }
  if (HAL_TIM_IC_ConfigChannel(&htim1, &sConfigIC, TIM_CHANNEL_3) != HAL_OK)
  {
    Error_Handler();
  }
  if (HAL_TIM_IC_ConfigChannel(&htim1, &sConfigIC, TIM_CHANNEL_4) != HAL_OK)
  {
    Error_Handler();
  }

}

static void MX_TIM2_Init(void)
{

  TIM_ClockConfigTypeDef sClockSourceConfig = {0};
  TIM_MasterConfigTypeDef sMasterConfig = {0};
  TIM_IC_InitTypeDef sConfigIC = {0};

  htim2.Instance = TIM2;
  htim2.Init.Prescaler = 8;
  htim2.Init.CounterMode = TIM_COUNTERMODE_UP;
  htim2.Init.Period = 4294967295;
  htim2.Init.ClockDivision = TIM_CLOCKDIVISION_DIV1;
  htim2.Init.AutoReloadPreload = TIM_AUTORELOAD_PRELOAD_ENABLE;
  if (HAL_TIM_Base_Init(&htim2) != HAL_OK)
  {
    Error_Handler();
  }
  sClockSourceConfig.ClockSource = TIM_CLOCKSOURCE_INTERNAL;
  if (HAL_TIM_ConfigClockSource(&htim2, &sClockSourceConfig) != HAL_OK)
  {
    Error_Handler();
  }
  if (HAL_TIM_IC_Init(&htim2) != HAL_OK)
  {
    Error_Handler();
  }
  sMasterConfig.MasterOutputTrigger = TIM_TRGO_RESET;
  sMasterConfig.MasterSlaveMode = TIM_MASTERSLAVEMODE_DISABLE;
  if (HAL_TIMEx_MasterConfigSynchronization(&htim2, &sMasterConfig) != HAL_OK)
  {
    Error_Handler();
  }
  sConfigIC.ICPolarity = TIM_INPUTCHANNELPOLARITY_FALLING;
  sConfigIC.ICSelection = TIM_ICSELECTION_DIRECTTI;
  sConfigIC.ICPrescaler = TIM_ICPSC_DIV1;
  sConfigIC.ICFilter = 0;
  if (HAL_TIM_IC_ConfigChannel(&htim2, &sConfigIC, TIM_CHANNEL_1) != HAL_OK)
  {
    Error_Handler();
  }

}

static void MX_TIM3_Init(void)
{

  TIM_ClockConfigTypeDef sClockSourceConfig = {0};
  TIM_MasterConfigTypeDef sMasterConfig = {0};
  TIM_IC_InitTypeDef sConfigIC = {0};

  htim3.Instance = TIM3;
  htim3.Init.Prescaler = 4;
  htim3.Init.CounterMode = TIM_COUNTERMODE_UP;
  htim3.Init.Period = 65535;
  htim3.Init.ClockDivision = TIM_CLOCKDIVISION_DIV1;
  htim3.Init.AutoReloadPreload = TIM_AUTORELOAD_PRELOAD_DISABLE;
  if (HAL_TIM_Base_Init(&htim3) != HAL_OK)
  {
    Error_Handler();
  }
  sClockSourceConfig.ClockSource = TIM_CLOCKSOURCE_INTERNAL;
  if (HAL_TIM_ConfigClockSource(&htim3, &sClockSourceConfig) != HAL_OK)
  {
    Error_Handler();
  }
  if (HAL_TIM_IC_Init(&htim3) != HAL_OK)
  {
    Error_Handler();
  }
  sMasterConfig.MasterOutputTrigger = TIM_TRGO_RESET;
  sMasterConfig.MasterSlaveMode = TIM_MASTERSLAVEMODE_DISABLE;
  if (HAL_TIMEx_MasterConfigSynchronization(&htim3, &sMasterConfig) != HAL_OK)
  {
    Error_Handler();
  }
  sConfigIC.ICPolarity = TIM_INPUTCHANNELPOLARITY_RISING;
  sConfigIC.ICSelection = TIM_ICSELECTION_DIRECTTI;
  sConfigIC.ICPrescaler = TIM_ICPSC_DIV1;
  sConfigIC.ICFilter = 0;
  if (HAL_TIM_IC_ConfigChannel(&htim3, &sConfigIC, TIM_CHANNEL_1) != HAL_OK)
  {
    Error_Handler();
  }
  if (HAL_TIM_IC_ConfigChannel(&htim3, &sConfigIC, TIM_CHANNEL_2) != HAL_OK)
  {
    Error_Handler();
  }
  if (HAL_TIM_IC_ConfigChannel(&htim3, &sConfigIC, TIM_CHANNEL_3) != HAL_OK)
  {
    Error_Handler();
  }
  if (HAL_TIM_IC_ConfigChannel(&htim3, &sConfigIC, TIM_CHANNEL_4) != HAL_OK)
  {
    Error_Handler();
  }

}

static void MX_TIM4_Init(void)
{

  TIM_ClockConfigTypeDef sClockSourceConfig = {0};
  TIM_MasterConfigTypeDef sMasterConfig = {0};
  TIM_IC_InitTypeDef sConfigIC = {0};

  htim4.Instance = TIM4;
  htim4.Init.Prescaler = 8;
  htim4.Init.CounterMode = TIM_COUNTERMODE_UP;
  htim4.Init.Period = 65535;
  htim4.Init.ClockDivision = TIM_CLOCKDIVISION_DIV1;
  htim4.Init.AutoReloadPreload = TIM_AUTORELOAD_PRELOAD_DISABLE;
  if (HAL_TIM_Base_Init(&htim4) != HAL_OK)
  {
    Error_Handler();
  }
  sClockSourceConfig.ClockSource = TIM_CLOCKSOURCE_INTERNAL;
  if (HAL_TIM_ConfigClockSource(&htim4, &sClockSourceConfig) != HAL_OK)
  {
    Error_Handler();
  }
  if (HAL_TIM_IC_Init(&htim4) != HAL_OK)
  {
    Error_Handler();
  }
  sMasterConfig.MasterOutputTrigger = TIM_TRGO_RESET;
  sMasterConfig.MasterSlaveMode = TIM_MASTERSLAVEMODE_DISABLE;
  if (HAL_TIMEx_MasterConfigSynchronization(&htim4, &sMasterConfig) != HAL_OK)
  {
    Error_Handler();
  }
  sConfigIC.ICPolarity = TIM_INPUTCHANNELPOLARITY_FALLING;
  sConfigIC.ICSelection = TIM_ICSELECTION_DIRECTTI;
  sConfigIC.ICPrescaler = TIM_ICPSC_DIV1;
  sConfigIC.ICFilter = 0;
  if (HAL_TIM_IC_ConfigChannel(&htim4, &sConfigIC, TIM_CHANNEL_1) != HAL_OK)
  {
    Error_Handler();
  }
  if (HAL_TIM_IC_ConfigChannel(&htim4, &sConfigIC, TIM_CHANNEL_2) != HAL_OK)
  {
    Error_Handler();
  }

}

static void MX_TIM5_Init(void)
{

  TIM_ClockConfigTypeDef sClockSourceConfig = {0};
  TIM_MasterConfigTypeDef sMasterConfig = {0};
  TIM_IC_InitTypeDef sConfigIC = {0};

  htim5.Instance = TIM5;
  htim5.Init.Prescaler = 0;
  htim5.Init.CounterMode = TIM_COUNTERMODE_UP;
  htim5.Init.Period = 4294967295;
  htim5.Init.ClockDivision = TIM_CLOCKDIVISION_DIV1;
  htim5.Init.AutoReloadPreload = TIM_AUTORELOAD_PRELOAD_DISABLE;
  if (HAL_TIM_Base_Init(&htim5) != HAL_OK)
  {
    Error_Handler();
  }
  sClockSourceConfig.ClockSource = TIM_CLOCKSOURCE_INTERNAL;
  if (HAL_TIM_ConfigClockSource(&htim5, &sClockSourceConfig) != HAL_OK)
  {
    Error_Handler();
  }
  if (HAL_TIM_IC_Init(&htim5) != HAL_OK)
  {
    Error_Handler();
  }
  sMasterConfig.MasterOutputTrigger = TIM_TRGO_RESET;
  sMasterConfig.MasterSlaveMode = TIM_MASTERSLAVEMODE_DISABLE;
  if (HAL_TIMEx_MasterConfigSynchronization(&htim5, &sMasterConfig) != HAL_OK)
  {
    Error_Handler();
  }
  sConfigIC.ICPolarity = TIM_INPUTCHANNELPOLARITY_RISING;
  sConfigIC.ICSelection = TIM_ICSELECTION_DIRECTTI;
  sConfigIC.ICPrescaler = TIM_ICPSC_DIV1;
  sConfigIC.ICFilter = 0;
  if (HAL_TIM_IC_ConfigChannel(&htim5, &sConfigIC, TIM_CHANNEL_1) != HAL_OK)
  {
    Error_Handler();
  }
  if (HAL_TIM_IC_ConfigChannel(&htim5, &sConfigIC, TIM_CHANNEL_2) != HAL_OK)
  {
    Error_Handler();
  }
  if (HAL_TIM_IC_ConfigChannel(&htim5, &sConfigIC, TIM_CHANNEL_3) != HAL_OK)
  {
    Error_Handler();
  }
  if (HAL_TIM_IC_ConfigChannel(&htim5, &sConfigIC, TIM_CHANNEL_4) != HAL_OK)
  {
    Error_Handler();
  }

}

static void MX_TIM8_Init(void)
{

  TIM_ClockConfigTypeDef sClockSourceConfig = {0};
  TIM_MasterConfigTypeDef sMasterConfig = {0};
  TIM_IC_InitTypeDef sConfigIC = {0};

  htim8.Instance = TIM8;
  htim8.Init.Prescaler = 8;
  htim8.Init.CounterMode = TIM_COUNTERMODE_UP;
  htim8.Init.Period = 65535;
  htim8.Init.ClockDivision = TIM_CLOCKDIVISION_DIV1;
  htim8.Init.RepetitionCounter = 0;
  htim8.Init.AutoReloadPreload = TIM_AUTORELOAD_PRELOAD_DISABLE;
  if (HAL_TIM_Base_Init(&htim8) != HAL_OK)
  {
    Error_Handler();
  }
  sClockSourceConfig.ClockSource = TIM_CLOCKSOURCE_INTERNAL;
  if (HAL_TIM_ConfigClockSource(&htim8, &sClockSourceConfig) != HAL_OK)
  {
    Error_Handler();
  }
  if (HAL_TIM_IC_Init(&htim8) != HAL_OK)
  {
    Error_Handler();
  }
  sMasterConfig.MasterOutputTrigger = TIM_TRGO_RESET;
  sMasterConfig.MasterOutputTrigger2 = TIM_TRGO2_RESET;
  sMasterConfig.MasterSlaveMode = TIM_MASTERSLAVEMODE_DISABLE;
  if (HAL_TIMEx_MasterConfigSynchronization(&htim8, &sMasterConfig) != HAL_OK)
  {
    Error_Handler();
  }
  sConfigIC.ICPolarity = TIM_INPUTCHANNELPOLARITY_FALLING;
  sConfigIC.ICSelection = TIM_ICSELECTION_DIRECTTI;
  sConfigIC.ICPrescaler = TIM_ICPSC_DIV1;
  sConfigIC.ICFilter = 0;
  if (HAL_TIM_IC_ConfigChannel(&htim8, &sConfigIC, TIM_CHANNEL_2) != HAL_OK)
  {
    Error_Handler();
  }
  if (HAL_TIM_IC_ConfigChannel(&htim8, &sConfigIC, TIM_CHANNEL_4) != HAL_OK)
  {
    Error_Handler();
  }

}

static void MX_TIM9_Init(void)
{

  TIM_ClockConfigTypeDef sClockSourceConfig = {0};
  TIM_IC_InitTypeDef sConfigIC = {0};

  htim9.Instance = TIM9;
  htim9.Init.Prescaler = 0;
  htim9.Init.CounterMode = TIM_COUNTERMODE_UP;
  htim9.Init.Period = 65535;
  htim9.Init.ClockDivision = TIM_CLOCKDIVISION_DIV1;
  htim9.Init.AutoReloadPreload = TIM_AUTORELOAD_PRELOAD_DISABLE;
  if (HAL_TIM_Base_Init(&htim9) != HAL_OK)
  {
    Error_Handler();
  }
  sClockSourceConfig.ClockSource = TIM_CLOCKSOURCE_INTERNAL;
  if (HAL_TIM_ConfigClockSource(&htim9, &sClockSourceConfig) != HAL_OK)
  {
    Error_Handler();
  }
  if (HAL_TIM_IC_Init(&htim9) != HAL_OK)
  {
    Error_Handler();
  }
  sConfigIC.ICPolarity = TIM_INPUTCHANNELPOLARITY_RISING;
  sConfigIC.ICSelection = TIM_ICSELECTION_DIRECTTI;
  sConfigIC.ICPrescaler = TIM_ICPSC_DIV1;
  sConfigIC.ICFilter = 0;
  if (HAL_TIM_IC_ConfigChannel(&htim9, &sConfigIC, TIM_CHANNEL_1) != HAL_OK)
  {
    Error_Handler();
  }
  if (HAL_TIM_IC_ConfigChannel(&htim9, &sConfigIC, TIM_CHANNEL_2) != HAL_OK)
  {
    Error_Handler();
  }

}

static void MX_TIM12_Init(void)
{

  TIM_ClockConfigTypeDef sClockSourceConfig = {0};
  TIM_IC_InitTypeDef sConfigIC = {0};

  htim12.Instance = TIM12;
  htim12.Init.Prescaler = 0;
  htim12.Init.CounterMode = TIM_COUNTERMODE_UP;
  htim12.Init.Period = 65535;
  htim12.Init.ClockDivision = TIM_CLOCKDIVISION_DIV1;
  htim12.Init.AutoReloadPreload = TIM_AUTORELOAD_PRELOAD_DISABLE;
  if (HAL_TIM_Base_Init(&htim12) != HAL_OK)
  {
    Error_Handler();
  }
  sClockSourceConfig.ClockSource = TIM_CLOCKSOURCE_INTERNAL;
  if (HAL_TIM_ConfigClockSource(&htim12, &sClockSourceConfig) != HAL_OK)
  {
    Error_Handler();
  }
  if (HAL_TIM_IC_Init(&htim12) != HAL_OK)
  {
    Error_Handler();
  }
  sConfigIC.ICPolarity = TIM_INPUTCHANNELPOLARITY_RISING;
  sConfigIC.ICSelection = TIM_ICSELECTION_DIRECTTI;
  sConfigIC.ICPrescaler = TIM_ICPSC_DIV1;
  sConfigIC.ICFilter = 0;
  if (HAL_TIM_IC_ConfigChannel(&htim12, &sConfigIC, TIM_CHANNEL_1) != HAL_OK)
  {
    Error_Handler();
  }
  if (HAL_TIM_IC_ConfigChannel(&htim12, &sConfigIC, TIM_CHANNEL_2) != HAL_OK)
  {
    Error_Handler();
  }

}

static void MX_UART8_Init(void)
{

  huart8.Instance = UART8;
  huart8.Init.BaudRate = 115200;
  huart8.Init.WordLength = UART_WORDLENGTH_8B;
  huart8.Init.StopBits = UART_STOPBITS_1;
  huart8.Init.Parity = UART_PARITY_NONE;
  huart8.Init.Mode = UART_MODE_TX_RX;
  huart8.Init.HwFlowCtl = UART_HWCONTROL_NONE;
  huart8.Init.OverSampling = UART_OVERSAMPLING_16;
  huart8.Init.OneBitSampling = UART_ONE_BIT_SAMPLE_DISABLE;
  huart8.AdvancedInit.AdvFeatureInit = UART_ADVFEATURE_NO_INIT;
  if (HAL_UART_Init(&huart8) != HAL_OK)
  {
    Error_Handler();
  }

}

static void MX_DMA_Init(void)
{

  /* DMA controller clock enable */
  __HAL_RCC_DMA1_CLK_ENABLE();
  __HAL_RCC_DMA2_CLK_ENABLE();

  /* DMA interrupt init */
  /* DMA1_Stream0_IRQn interrupt configuration */
  HAL_NVIC_SetPriority(DMA1_Stream0_IRQn, 0, 0);
  HAL_NVIC_EnableIRQ(DMA1_Stream0_IRQn);
  /* DMA1_Stream2_IRQn interrupt configuration */
  HAL_NVIC_SetPriority(DMA1_Stream2_IRQn, 0, 0);
  HAL_NVIC_EnableIRQ(DMA1_Stream2_IRQn);
  /* DMA1_Stream3_IRQn interrupt configuration */
  HAL_NVIC_SetPriority(DMA1_Stream3_IRQn, 0, 0);
  HAL_NVIC_EnableIRQ(DMA1_Stream3_IRQn);
  /* DMA1_Stream5_IRQn interrupt configuration */
  HAL_NVIC_SetPriority(DMA1_Stream5_IRQn, 0, 0);
  HAL_NVIC_EnableIRQ(DMA1_Stream5_IRQn);
  /* DMA1_Stream7_IRQn interrupt configuration */
  HAL_NVIC_SetPriority(DMA1_Stream7_IRQn, 0, 0);
  HAL_NVIC_EnableIRQ(DMA1_Stream7_IRQn);
  /* DMA2_Stream0_IRQn interrupt configuration */
  HAL_NVIC_SetPriority(DMA2_Stream0_IRQn, 0, 0);
  HAL_NVIC_EnableIRQ(DMA2_Stream0_IRQn);
  /* DMA2_Stream1_IRQn interrupt configuration */
  HAL_NVIC_SetPriority(DMA2_Stream1_IRQn, 0, 0);
  HAL_NVIC_EnableIRQ(DMA2_Stream1_IRQn);
  /* DMA2_Stream2_IRQn interrupt configuration */
  HAL_NVIC_SetPriority(DMA2_Stream2_IRQn, 0, 0);
  HAL_NVIC_EnableIRQ(DMA2_Stream2_IRQn);
  /* DMA2_Stream3_IRQn interrupt configuration */
  HAL_NVIC_SetPriority(DMA2_Stream3_IRQn, 0, 0);
  HAL_NVIC_EnableIRQ(DMA2_Stream3_IRQn);
  /* DMA2_Stream4_IRQn interrupt configuration */
  HAL_NVIC_SetPriority(DMA2_Stream4_IRQn, 0, 0);
  HAL_NVIC_EnableIRQ(DMA2_Stream4_IRQn);
  /* DMA2_Stream5_IRQn interrupt configuration */
  HAL_NVIC_SetPriority(DMA2_Stream5_IRQn, 0, 0);
  HAL_NVIC_EnableIRQ(DMA2_Stream5_IRQn);
  /* DMA2_Stream6_IRQn interrupt configuration */
  HAL_NVIC_SetPriority(DMA2_Stream6_IRQn, 0, 0);
  HAL_NVIC_EnableIRQ(DMA2_Stream6_IRQn);
  /* DMA2_Stream7_IRQn interrupt configuration */
  HAL_NVIC_SetPriority(DMA2_Stream7_IRQn, 0, 0);
  HAL_NVIC_EnableIRQ(DMA2_Stream7_IRQn);

}

static void MX_GPIO_Init(void)
{
  GPIO_InitTypeDef GPIO_InitStruct = {0};

  /* GPIO Ports Clock Enable */
  __HAL_RCC_GPIOE_CLK_ENABLE();
  __HAL_RCC_GPIOH_CLK_ENABLE();
  __HAL_RCC_GPIOA_CLK_ENABLE();
  __HAL_RCC_GPIOB_CLK_ENABLE();
  __HAL_RCC_GPIOD_CLK_ENABLE();
  __HAL_RCC_GPIOC_CLK_ENABLE();

  /*Configure GPIO pin Output Level */
  HAL_GPIO_WritePin(GPIOE, GPIO_PIN_2|GPIO_PIN_3, GPIO_PIN_RESET);

  /*Configure GPIO pins : PE2 PE3 */
  GPIO_InitStruct.Pin = GPIO_PIN_2|GPIO_PIN_3;
  GPIO_InitStruct.Mode = GPIO_MODE_OUTPUT_PP;
  GPIO_InitStruct.Pull = GPIO_NOPULL;
  GPIO_InitStruct.Speed = GPIO_SPEED_FREQ_LOW;
  HAL_GPIO_Init(GPIOE, &GPIO_InitStruct);

  /*Configure GPIO pin : PE4 */
  GPIO_InitStruct.Pin = GPIO_PIN_4;
  GPIO_InitStruct.Mode = GPIO_MODE_INPUT;
  GPIO_InitStruct.Pull = GPIO_NOPULL;
  HAL_GPIO_Init(GPIOE, &GPIO_InitStruct);

}

 /* MPU Configuration */

void MPU_Config(void)
{
  MPU_Region_InitTypeDef MPU_InitStruct = {0};

  /* Disables the MPU */
  HAL_MPU_Disable();

  /** Initializes and configures the Region and the memory to be protected
  */
  MPU_InitStruct.Enable = MPU_REGION_ENABLE;
  MPU_InitStruct.Number = MPU_REGION_NUMBER0;
  MPU_InitStruct.BaseAddress = 0x0;
  MPU_InitStruct.Size = MPU_REGION_SIZE_4GB;
  MPU_InitStruct.SubRegionDisable = 0x87;
  MPU_InitStruct.TypeExtField = MPU_TEX_LEVEL0;
  MPU_InitStruct.AccessPermission = MPU_REGION_NO_ACCESS;
  MPU_InitStruct.DisableExec = MPU_INSTRUCTION_ACCESS_DISABLE;
  MPU_InitStruct.IsShareable = MPU_ACCESS_SHAREABLE;
  MPU_InitStruct.IsCacheable = MPU_ACCESS_NOT_CACHEABLE;
  MPU_InitStruct.IsBufferable = MPU_ACCESS_NOT_BUFFERABLE;

  HAL_MPU_ConfigRegion(&MPU_InitStruct);
  /* Enables the MPU */
  HAL_MPU_Enable(MPU_PRIVILEGED_DEFAULT);

}

void Error_Handler(void)
{
  __disable_irq();
  while (1)
  {
  }
}
